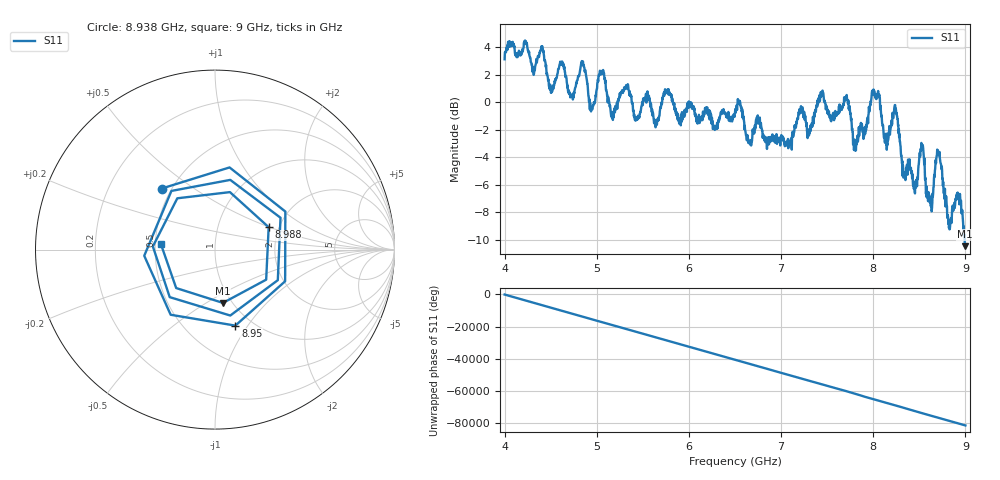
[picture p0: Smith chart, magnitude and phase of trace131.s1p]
! Created with skrf 1.8.0 (http://scikit-rf.org).
# Hz S RI R 50.0
!freq ReS11 ImS11
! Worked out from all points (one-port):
!   1601 points, 4 GHz to 9 GHz, reference 50 ohm
!   lowest |S11| = -10.4 dB at 8.994 GHz (marker M1), VSWR 1.86, Z = 45.4 - j29.7 ohm
!   |S11| at or under -10 dB: 8.99239 GHz to end of sweep
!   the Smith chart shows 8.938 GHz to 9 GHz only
!   S11 on the Smith chart (normalised r, x): 8.938 GHz: 0.44, +0.38; 8.95 GHz: 0.84, -0.88; 8.988 GHz: 1.77, +0.49; 9 GHz: 0.54, +0.03
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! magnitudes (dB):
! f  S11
! 4 GHz  3.1
! 4.506 GHz  0.8
! 4.625 GHz  3.0
! 4.725 GHz  0.5
! 4.853 GHz  2.8
! 4.941 GHz  -0.5
! 5.047 GHz  2.2
! 5.162 GHz  -1.1
! 5.25 GHz  0.7
! 5.875 GHz  -1.2
! 6.5 GHz  -0.8
! 7.125 GHz  -2.1
! 7.434 GHz  0.4
! 7.75 GHz  -0.8
! 7.806 GHz  -3.2
! 8.003 GHz  0.9
! 8.138 GHz  -2.5
! 8.241 GHz  -0.6
! 8.375 GHz  -4.8
! 8.531 GHz  -3.1
! 8.619 GHz  -7.1
! 8.709 GHz  -3.8
! 8.828 GHz  -9.2
! 8.938 GHz  -6.9
! 8.95 GHz  -7.2
! 8.988 GHz  -9.8
! 8.994 GHz  -10.4
! 9 GHz  -10.4
